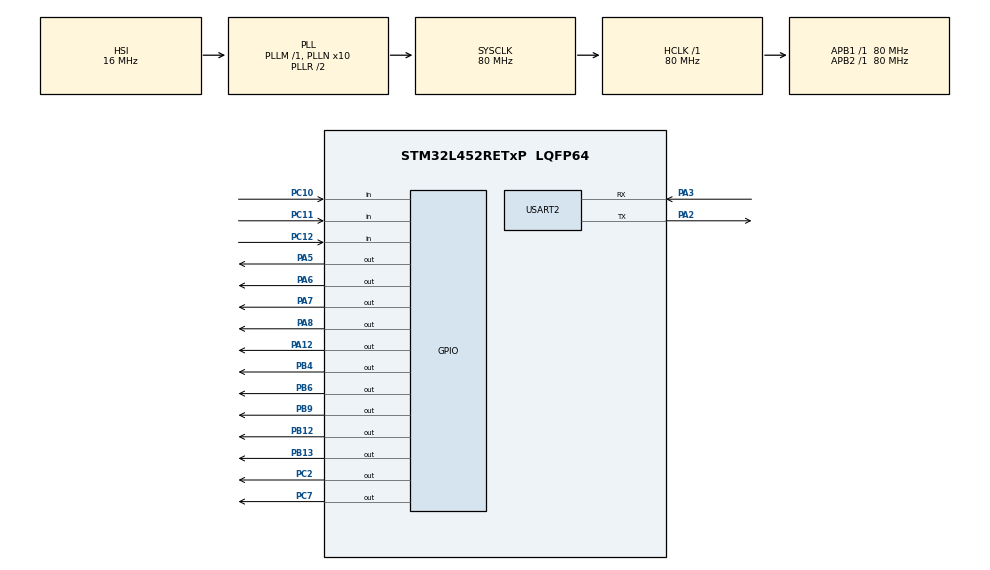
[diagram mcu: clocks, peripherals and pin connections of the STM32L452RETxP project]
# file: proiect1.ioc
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Mcu.Family=STM32L4
Mcu.Name=STM32L452RETxP
Mcu.Package=LQFP64
NVIC.PriorityGroup=NVIC_PRIORITYGROUP_4
NVIC.USART2_IRQn=true\:0\:0\:false\:false\:true\:true\:true\:true
PA12.Signal=GPIO_Output
PA13\ (JTMS/SWDIO).Mode=Serial_Wire
PA13\ (JTMS/SWDIO).Signal=SYS_JTMS-SWDIO
PA14\ (JTCK/SWCLK).Mode=Serial_Wire
PA14\ (JTCK/SWCLK).Signal=SYS_JTCK-SWCLK
PA2.Mode=Asynchronous
PA2.Signal=USART2_TX
PA3.Mode=Asynchronous
PA3.Signal=USART2_RX
PA5.Signal=GPIO_Output
PA6.Signal=GPIO_Output
PA7.Signal=GPIO_Output
PA8.Signal=GPIO_Output
PB12.GPIO_PuPd=GPIO_PULLDOWN
PB12.Signal=GPIO_Output
PB13.Signal=GPIO_Output
PB4\ (NJTRST).GPIO_PuPd=GPIO_PULLDOWN
PB4\ (NJTRST).Signal=GPIO_Output
PB6.Signal=GPIO_Output
PB9.GPIO_PuPd=GPIO_PULLDOWN
PB9.Signal=GPIO_Output
PC10.GPIO_PuPd=GPIO_PULLUP
PC10.Signal=GPIO_Input
PC11.GPIO_PuPd=GPIO_PULLUP
PC11.Signal=GPIO_Input
PC12.GPIO_PuPd=GPIO_PULLUP
PC12.Signal=GPIO_Input
PC2.GPIO_PuPd=GPIO_PULLDOWN
PC2.Signal=GPIO_Output
PC7.Signal=GPIO_Output
ProjectManager.HeapSize=0x200
ProjectManager.StackSize=0x400
ProjectManager.TargetToolchain=STM32CubeIDE
RCC.ADCFreq_Value=64000000
RCC.AHBFreq_Value=80000000
RCC.APB1Freq_Value=80000000
RCC.APB1TimFreq_Value=80000000
RCC.APB2Freq_Value=80000000
RCC.APB2TimFreq_Value=80000000
RCC.CortexFreq_Value=80000000
RCC.HCLKFreq_Value=80000000
RCC.HSE_VALUE=8000000
RCC.HSI48_VALUE=48000000
RCC.HSI_VALUE=16000000
RCC.LSE_VALUE=32768
RCC.MSI_VALUE=4000000
RCC.PLLN=10
RCC.PLLSourceVirtual=RCC_PLLSOURCE_HSI
RCC.PREFETCH_ENABLE=1
RCC.SYSCLKFreq_VALUE=80000000
RCC.SYSCLKSource=RCC_SYSCLKSOURCE_PLLCLK
RCC.USBFreq_Value=64000000
RCC.VCOOutputFreq_Value=160000000
USART2.VirtualMode-Asynchronous=VM_ASYNC
board=NUCLEO-L452RE-P

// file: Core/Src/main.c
/* USER CODE BEGIN Header */
/**
  ******************************************************************************
  * @file           : main.c
  * @brief          : Main program body
  ******************************************************************************
  * @attention
  *
  * Copyright (c) 2024 STMicroelectronics.
  * All rights reserved.
  *
  * This software is licensed under terms that can be found in the LICENSE file
  * in the root directory of this software component.
  * If no LICENSE file comes with this software, it is provided AS-IS.
  *
  ******************************************************************************
  */
/* USER CODE END Header */
#include "main.h"

/* USER CODE BEGIN Includes */
#include <stdio.h>
#include <string.h>
/* USER CODE END Includes */

/* USER CODE BEGIN PTD */
#define R1_PORT GPIOB
#define R1_PIN GPIO_PIN_4

#define R2_PORT GPIOB
#define R2_PIN GPIO_PIN_9

#define R3_PORT GPIOB
#define R3_PIN GPIO_PIN_12

#define R4_PORT GPIOC
#define R4_PIN GPIO_PIN_2

#define C1_PORT GPIOC
#define C1_PIN GPIO_PIN_12

#define C2_PORT GPIOC
#define C2_PIN GPIO_PIN_11

#define C3_PORT GPIOC
#define C3_PIN GPIO_PIN_10

#define PIN_LENGTH 4
/* USER CODE END PTD */

UART_HandleTypeDef huart2;

/* USER CODE BEGIN PV */
char pinBuffer[PIN_LENGTH] = {0};
uint8_t pinIndex = 0;
const char correctPin[PIN_LENGTH] = {'1', '2', '3', '4'}; // Codul PIN corect
/* USER CODE END PV */

void SystemClock_Config(void);
static void MX_GPIO_Init(void);
static void MX_USART2_UART_Init(void);

/* USER CODE BEGIN 0 */
uint8_t segmentNumber[10] = {
        0x3f,  // 0
        0x06,  // 1
        0x5b,  // 2
        0x4f,  // 3
        0x66,  // 4
        0x6d,  // 5
        0x7d,  // 6
        0x07,  // 7
        0x7f,  // 8
        0x67   // 9
};

void SevenSegment_Update(uint8_t number){
	HAL_GPIO_WritePin(GPIOA, GPIO_PIN_8, ((number>>0)&0x01));
	HAL_GPIO_WritePin(GPIOA, GPIO_PIN_5, ((number>>1)&0x01));
	HAL_GPIO_WritePin(GPIOA, GPIO_PIN_6, ((number>>2)&0x01));
	HAL_GPIO_WritePin(GPIOA, GPIO_PIN_7, ((number>>3)&0x01));
	HAL_GPIO_WritePin(GPIOB, GPIO_PIN_6, ((number>>4)&0x01));
	HAL_GPIO_WritePin(GPIOC, GPIO_PIN_7, ((number>>5)&0x01));
	HAL_GPIO_WritePin(GPIOA, GPIO_PIN_12, ((number>>6)&0x01));
}

/* USER CODE END 0 */

int main(void)
{
  /* USER CODE BEGIN 1 */
	uint8_t key;

	void resetPinBuffer(void) {
	    for (uint8_t i = 0; i < PIN_LENGTH; i++) {
	        pinBuffer[i] = 0;
	    }
	    pinIndex = 0;
	}

	void checkPin(void) {
	    if (memcmp(pinBuffer, correctPin, PIN_LENGTH) == 0) {
	        // Cod PIN corect
	        HAL_GPIO_WritePin(GPIOB, GPIO_PIN_13, GPIO_PIN_SET); // Aprinde LED
	    } else {
	        // Cod PIN incorect
	        HAL_GPIO_WritePin(GPIOB, GPIO_PIN_13, GPIO_PIN_RESET); // Stinge LED
	    }
	    resetPinBuffer(); // Resetează buffer-ul după verificare
	}

	uint8_t read_keypad (void){

			HAL_GPIO_WritePin (R1_PORT, R1_PIN, GPIO_PIN_RESET);
			HAL_GPIO_WritePin (R2_PORT, R2_PIN, GPIO_PIN_SET);
			HAL_GPIO_WritePin (R3_PORT, R3_PIN, GPIO_PIN_SET);
			HAL_GPIO_WritePin (R4_PORT, R4_PIN, GPIO_PIN_SET);

			if (!(HAL_GPIO_ReadPin (C1_PORT, C1_PIN)))
			{
				while (!(HAL_GPIO_ReadPin (C1_PORT, C1_PIN)));
				return 1;
			}

			if (!(HAL_GPIO_ReadPin (C2_PORT, C2_PIN)))
			{
				while (!(HAL_GPIO_ReadPin (C2_PORT, C2_PIN)));
				return 2;
			}

			if (!(HAL_GPIO_ReadPin (C3_PORT, C3_PIN)))
			{
				while (!(HAL_GPIO_ReadPin (C3_PORT, C3_PIN)));
				return 3;
			}

			HAL_GPIO_WritePin (R1_PORT, R1_PIN, GPIO_PIN_SET);
			HAL_GPIO_WritePin (R2_PORT, R2_PIN, GPIO_PIN_RESET);
			HAL_GPIO_WritePin (R3_PORT, R3_PIN, GPIO_PIN_SET);
			HAL_GPIO_WritePin (R4_PORT, R4_PIN, GPIO_PIN_SET);

			if (!(HAL_GPIO_ReadPin (C1_PORT, C1_PIN)))
			{
				while (!(HAL_GPIO_ReadPin (C1_PORT, C1_PIN)));
				return 4;
			}

			if (!(HAL_GPIO_ReadPin (C2_PORT, C2_PIN)))
			{
				while (!(HAL_GPIO_ReadPin (C2_PORT, C2_PIN)));
				return 5;
			}

			if (!(HAL_GPIO_ReadPin (C3_PORT, C3_PIN)))
			{
				while (!(HAL_GPIO_ReadPin (C3_PORT, C3_PIN)));
				return 6;
			}

			HAL_GPIO_WritePin (R1_PORT, R1_PIN, GPIO_PIN_SET);
			HAL_GPIO_WritePin (R2_PORT, R2_PIN, GPIO_PIN_SET);
			HAL_GPIO_WritePin (R3_PORT, R3_PIN, GPIO_PIN_RESET);
			HAL_GPIO_WritePin (R4_PORT, R4_PIN, GPIO_PIN_SET);

			if (!(HAL_GPIO_ReadPin (C1_PORT, C1_PIN)))
			{
				while (!(HAL_GPIO_ReadPin (C1_PORT, C1_PIN)));
				return 7;
			}

			if (!(HAL_GPIO_ReadPin (C2_PORT, C2_PIN)))
			{
				while (!(HAL_GPIO_ReadPin (C2_PORT, C2_PIN)));
				return 8;
			}

			if (!(HAL_GPIO_ReadPin (C3_PORT, C3_PIN)))
			{
				while (!(HAL_GPIO_ReadPin (C3_PORT, C3_PIN)));
				return 9;
			}

			HAL_GPIO_WritePin (R1_PORT, R1_PIN, GPIO_PIN_SET);
			HAL_GPIO_WritePin (R2_PORT, R2_PIN, GPIO_PIN_SET);
			HAL_GPIO_WritePin (R3_PORT, R3_PIN, GPIO_PIN_SET);
			HAL_GPIO_WritePin (R4_PORT, R4_PIN, GPIO_PIN_RESET);

			if (!(HAL_GPIO_ReadPin (C1_PORT, C1_PIN)))
			{
				while (!(HAL_GPIO_ReadPin (C1_PORT, C1_PIN)));
				return 42;
			}

			if (!(HAL_GPIO_ReadPin (C2_PORT, C2_PIN)))
			{
				while (!(HAL_GPIO_ReadPin (C2_PORT, C2_PIN)));
				return 0;
			}

			if (!(HAL_GPIO_ReadPin (C3_PORT, C3_PIN)))
			{
				while (!(HAL_GPIO_ReadPin (C3_PORT, C3_PIN)));
				return 35;
			}

			 return 0xFF;
		}
  /* USER CODE END 1 */

  /* MCU Configuration--------------------------------------------------------*/

  /* Reset of all peripherals, Initializes the Flash interface and the Systick. */
  HAL_Init();

  /* Configure the system clock */
  SystemClock_Config();

  /* Initialize all configured peripherals */
  MX_GPIO_Init();
  MX_USART2_UART_Init();

  /* Infinite loop */
  /* USER CODE BEGIN WHILE */
  while (1)
  {

	  // Așteaptă până când este apăsată o tastă
	   key = read_keypad();

	   if (key != 0xFF) // Verifică dacă a fost citită o valoare validă
	       {
	           if (pinIndex < PIN_LENGTH)
	           {
	               pinBuffer[pinIndex++] = key + '0'; // Convertește numărul în caracter
	               SevenSegment_Update(segmentNumber[key]); // Afișează pe display
	               HAL_Delay(500); // Așteaptă 500ms pentru a putea vedea cifra pe display
	           }

	           if (pinIndex == PIN_LENGTH) // Dacă s-a introdus întregul PIN
	           {
	               checkPin(); // Verifică codul PIN
	               HAL_Delay(500); // Așteaptă 500ms pentru a vedea rezultatul
	               pinIndex = 0; // Resetează indexul pentru următorul PIN
	           }
	       }
	       else
	       {
	           SevenSegment_Update(0x00);
	       }

    /* USER CODE END WHILE */

  }
}

void SystemClock_Config(void)
{
  RCC_OscInitTypeDef RCC_OscInitStruct = {0};
  RCC_ClkInitTypeDef RCC_ClkInitStruct = {0};

  /** Configure the main internal regulator output voltage
  */
  if (HAL_PWREx_ControlVoltageScaling(PWR_REGULATOR_VOLTAGE_SCALE1) != HAL_OK)
  {
    Error_Handler();
  }

  /** Initializes the RCC Oscillators according to the specified parameters
  * in the RCC_OscInitTypeDef structure.
  */
  RCC_OscInitStruct.OscillatorType = RCC_OSCILLATORTYPE_HSI;
  RCC_OscInitStruct.HSIState = RCC_HSI_ON;
  RCC_OscInitStruct.HSICalibrationValue = 64;
  RCC_OscInitStruct.PLL.PLLState = RCC_PLL_ON;
  RCC_OscInitStruct.PLL.PLLSource = RCC_PLLSOURCE_HSI;
  RCC_OscInitStruct.PLL.PLLM = 1;
  RCC_OscInitStruct.PLL.PLLN = 10;
  RCC_OscInitStruct.PLL.PLLP = RCC_PLLP_DIV7;
  RCC_OscInitStruct.PLL.PLLQ = RCC_PLLQ_DIV2;
  RCC_OscInitStruct.PLL.PLLR = RCC_PLLR_DIV2;
  if (HAL_RCC_OscConfig(&RCC_OscInitStruct) != HAL_OK)
  {
    Error_Handler();
  }

  /** Initializes the CPU, AHB and APB buses clocks
  */
  RCC_ClkInitStruct.ClockType = RCC_CLOCKTYPE_HCLK|RCC_CLOCKTYPE_SYSCLK
                              |RCC_CLOCKTYPE_PCLK1|RCC_CLOCKTYPE_PCLK2;
  RCC_ClkInitStruct.SYSCLKSource = RCC_SYSCLKSOURCE_PLLCLK;
  RCC_ClkInitStruct.AHBCLKDivider = RCC_SYSCLK_DIV1;
  RCC_ClkInitStruct.APB1CLKDivider = RCC_HCLK_DIV1;
  RCC_ClkInitStruct.APB2CLKDivider = RCC_HCLK_DIV1;

  if (HAL_RCC_ClockConfig(&RCC_ClkInitStruct, FLASH_LATENCY_4) != HAL_OK)
  {
    Error_Handler();
  }
}

static void MX_USART2_UART_Init(void)
{

  huart2.Instance = USART2;
  huart2.Init.BaudRate = 115200;
  huart2.Init.WordLength = UART_WORDLENGTH_8B;
  huart2.Init.StopBits = UART_STOPBITS_1;
  huart2.Init.Parity = UART_PARITY_NONE;
  huart2.Init.Mode = UART_MODE_TX_RX;
  huart2.Init.HwFlowCtl = UART_HWCONTROL_NONE;
  huart2.Init.OverSampling = UART_OVERSAMPLING_16;
  huart2.Init.OneBitSampling = UART_ONE_BIT_SAMPLE_DISABLE;
  huart2.AdvancedInit.AdvFeatureInit = UART_ADVFEATURE_NO_INIT;
  if (HAL_UART_Init(&huart2) != HAL_OK)
  {
    Error_Handler();
  }

}

static void MX_GPIO_Init(void)
{
  GPIO_InitTypeDef GPIO_InitStruct = {0};

  /* GPIO Ports Clock Enable */
  __HAL_RCC_GPIOC_CLK_ENABLE();
  __HAL_RCC_GPIOA_CLK_ENABLE();
  __HAL_RCC_GPIOB_CLK_ENABLE();

  /*Configure GPIO pin Output Level */
  HAL_GPIO_WritePin(GPIOC, GPIO_PIN_2|GPIO_PIN_7, GPIO_PIN_RESET);

  /*Configure GPIO pin Output Level */
  HAL_GPIO_WritePin(GPIOA, GPIO_PIN_5|GPIO_PIN_6|GPIO_PIN_7|GPIO_PIN_8
                          |GPIO_PIN_12, GPIO_PIN_RESET);

  /*Configure GPIO pin Output Level */
  HAL_GPIO_WritePin(GPIOB, GPIO_PIN_12|GPIO_PIN_13|GPIO_PIN_4|GPIO_PIN_6
                          |GPIO_PIN_9, GPIO_PIN_RESET);

  /*Configure GPIO pin : PC2 */
  GPIO_InitStruct.Pin = GPIO_PIN_2;
  GPIO_InitStruct.Mode = GPIO_MODE_OUTPUT_PP;
  GPIO_InitStruct.Pull = GPIO_PULLDOWN;
  GPIO_InitStruct.Speed = GPIO_SPEED_FREQ_LOW;
  HAL_GPIO_Init(GPIOC, &GPIO_InitStruct);

  /*Configure GPIO pins : PA5 PA6 PA7 PA8
                           PA12 */
  GPIO_InitStruct.Pin = GPIO_PIN_5|GPIO_PIN_6|GPIO_PIN_7|GPIO_PIN_8
                          |GPIO_PIN_12;
  GPIO_InitStruct.Mode = GPIO_MODE_OUTPUT_PP;
  GPIO_InitStruct.Pull = GPIO_NOPULL;
  GPIO_InitStruct.Speed = GPIO_SPEED_FREQ_LOW;
  HAL_GPIO_Init(GPIOA, &GPIO_InitStruct);

  /*Configure GPIO pins : PB12 PB4 PB9 */
  GPIO_InitStruct.Pin = GPIO_PIN_12|GPIO_PIN_4|GPIO_PIN_9;
  GPIO_InitStruct.Mode = GPIO_MODE_OUTPUT_PP;
  GPIO_InitStruct.Pull = GPIO_PULLDOWN;
  GPIO_InitStruct.Speed = GPIO_SPEED_FREQ_LOW;
  HAL_GPIO_Init(GPIOB, &GPIO_InitStruct);

  /*Configure GPIO pins : PB13 PB6 */
  GPIO_InitStruct.Pin = GPIO_PIN_13|GPIO_PIN_6;
  GPIO_InitStruct.Mode = GPIO_MODE_OUTPUT_PP;
  GPIO_InitStruct.Pull = GPIO_NOPULL;
  GPIO_InitStruct.Speed = GPIO_SPEED_FREQ_LOW;
  HAL_GPIO_Init(GPIOB, &GPIO_InitStruct);

  /*Configure GPIO pin : PC7 */
  GPIO_InitStruct.Pin = GPIO_PIN_7;
  GPIO_InitStruct.Mode = GPIO_MODE_OUTPUT_PP;
  GPIO_InitStruct.Pull = GPIO_NOPULL;
  GPIO_InitStruct.Speed = GPIO_SPEED_FREQ_LOW;
  HAL_GPIO_Init(GPIOC, &GPIO_InitStruct);

  /*Configure GPIO pins : PC10 PC11 PC12 */
  GPIO_InitStruct.Pin = GPIO_PIN_10|GPIO_PIN_11|GPIO_PIN_12;
  GPIO_InitStruct.Mode = GPIO_MODE_INPUT;
  GPIO_InitStruct.Pull = GPIO_PULLUP;
  HAL_GPIO_Init(GPIOC, &GPIO_InitStruct);

}

void Error_Handler(void)
{
  __disable_irq();
  while (1)
  {
  }
}
